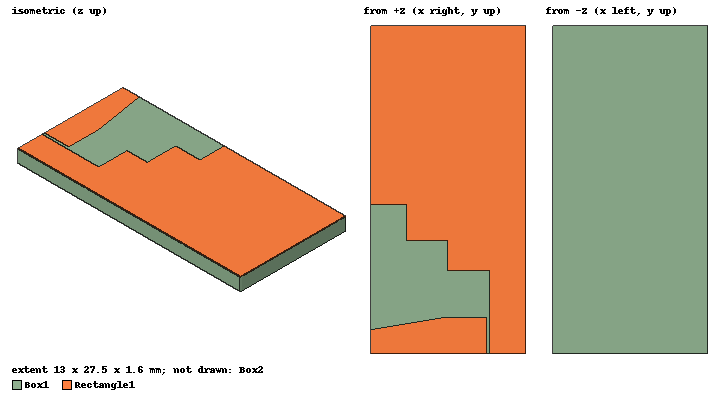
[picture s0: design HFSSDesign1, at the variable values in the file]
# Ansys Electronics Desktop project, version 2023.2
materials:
  vacuum: permittivity=1
  FR4_epoxy: permittivity=4.4 dielectric_loss_tangent=0.02
  pec: conductivity=1e+30

design HFSSDesign1 (HFSS, HFSS Modal Network, model units mm)
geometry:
  Box1 [FR4_epoxy] = box(corner=(-6.5mm, -13.75mm, 0mm), size=(13mm, 27.5mm, 1.6mm))
  Rectangle1 = rectangle(corner=(-6.5mm, -13.75mm, 1.6mm), x_size=13mm, y_size=27.5mm)
  Rectangle2 = rectangle(corner=(-6.5mm, -10.75mm, 1.6mm), x_size=3mm, y_size=9.5mm)
  Rectangle1.subtract(Rectangle2)
  Rectangle3 = rectangle(corner=(3.2mm, -13.75mm, 1.6mm), x_size=0.3mm, y_size=7mm)
  Rectangle1.subtract(Rectangle3)
  Rectangle4 = rectangle(corner=(-6.5mm, -10.75mm, 1.6mm), x_size=10mm, y_size=4mm)
  Rectangle1.subtract(Rectangle4)
  Rectangle5 = rectangle(corner=(-3.5mm, -6.75mm, 1.6mm), x_size=3.5mm, y_size=2.5mm)
  Rectangle1.subtract(Rectangle5)
  Polyline3 = polyline(z=1.6mm, xy in mm: (-0.5, -10.75) (-6.5, -11.75) (-6.5, -10.75) (-0.5, -10.75), closed, covered)
  Rectangle1.subtract(Polyline3)
  Rectangle6 = rectangle(corner=((-13/2) mm, -13.75mm, 1.6mm), z_size=-1.6mm, x_size=13mm)
  Box2 [vacuum] = box(corner=(-39mm, -46mm, -32mm), size=(78mm, 92mm, 66mm))
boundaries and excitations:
  Rad1: Radiation Objects=Box2
  PerfE1: Perfect E Objects=Rectangle1
  1: Lumped Port Objects=Rectangle6 LumpedPortType=Modal Modes{Mode1{IntLine{(-6.5, -13.75, 0.8) -> (6.5, -13.75, 0.8)} CharImp=Zpi RenormImp=50ohm}} Impedance=50ohm
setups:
  Setup1: HfssDriven Frequency=5.5GHz MaxDeltaS=0.02 MaximumPasses=20 MinimumPasses=1 MinimumConvergedPasses=1 PercentRefinement=30 BasisOrder=1 PortAccuracy=2 DrivenSolverType="Direct Solver"
    sweep Sweep: 2GHz to 7GHz, 401 points; Type=Discrete SaveFields
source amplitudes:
  1:1: 1W 0deg
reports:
  S Parameter Plot 1: dB(S(1,1)) vs Freq on Setup1 : Sweep; markers m1 at 3.3375GHz
